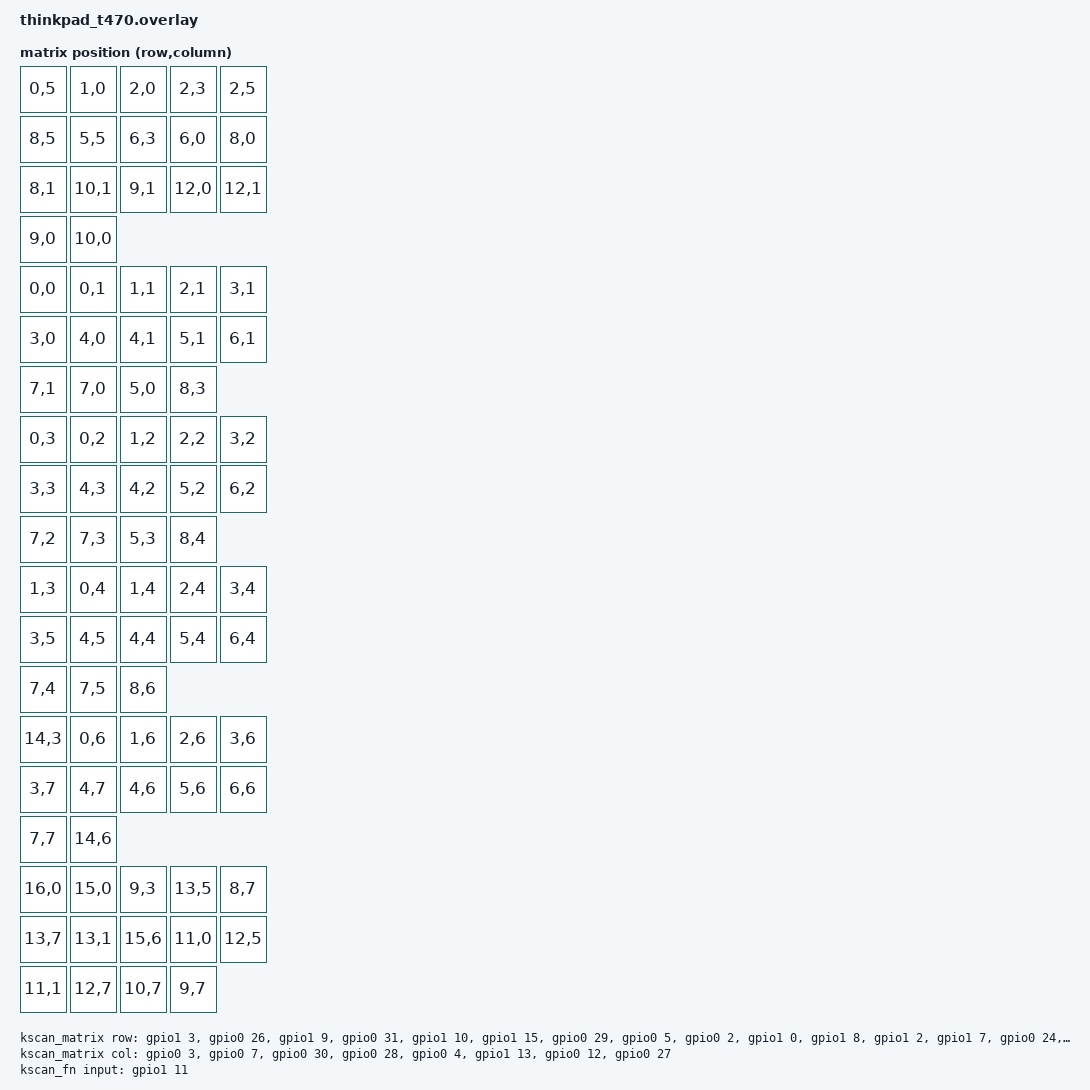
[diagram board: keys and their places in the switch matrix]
/*
 * ThinkPad T470 keyboard matrix on the Nordic nRF52840 DK.
 *
 * The transform maps the measured 16 x 8 matrix into physical US-layout order.
 * TrackPoint, keyboard LEDs, and backlight are intentionally out of scope.
 *
 * SPDX-License-Identifier: MIT
 */

#include <dt-bindings/gpio/gpio.h>
#include <dt-bindings/zmk/matrix_transform.h>
#include <dt-bindings/pinctrl/nrf-pinctrl.h>

/ {
    chosen {
        zmk,kscan = &kscan_composite;
        zmk,matrix-transform = &t470_transform;
    };

    kscan_matrix: kscan_matrix {
        compatible = "zmk,kscan-gpio-matrix";
        wakeup-source;
        diode-direction = "row2col";

        /* DRV0 through DRV15, in order. */
        row-gpios =
            <&gpio1 3 (GPIO_ACTIVE_LOW | GPIO_OPEN_DRAIN)>,
            <&gpio0 26 (GPIO_ACTIVE_LOW | GPIO_OPEN_DRAIN)>,
            <&gpio1 9 (GPIO_ACTIVE_LOW | GPIO_OPEN_DRAIN)>,
            <&gpio0 31 (GPIO_ACTIVE_LOW | GPIO_OPEN_DRAIN)>,
            <&gpio1 10 (GPIO_ACTIVE_LOW | GPIO_OPEN_DRAIN)>,
            <&gpio1 15 (GPIO_ACTIVE_LOW | GPIO_OPEN_DRAIN)>,
            <&gpio0 29 (GPIO_ACTIVE_LOW | GPIO_OPEN_DRAIN)>,
            <&gpio0 5 (GPIO_ACTIVE_LOW | GPIO_OPEN_DRAIN)>,
            <&gpio0 2 (GPIO_ACTIVE_LOW | GPIO_OPEN_DRAIN)>,
            <&gpio1 0 (GPIO_ACTIVE_LOW | GPIO_OPEN_DRAIN)>,
            <&gpio1 8 (GPIO_ACTIVE_LOW | GPIO_OPEN_DRAIN)>,
            <&gpio1 2 (GPIO_ACTIVE_LOW | GPIO_OPEN_DRAIN)>,
            <&gpio1 7 (GPIO_ACTIVE_LOW | GPIO_OPEN_DRAIN)>,
            <&gpio0 24 (GPIO_ACTIVE_LOW | GPIO_OPEN_DRAIN)>,
            <&gpio1 6 (GPIO_ACTIVE_LOW | GPIO_OPEN_DRAIN)>,
            <&gpio1 5 (GPIO_ACTIVE_LOW | GPIO_OPEN_DRAIN)>;

        /* SENSE0 through SENSE7, in order. */
        col-gpios =
            <&gpio0 3 (GPIO_ACTIVE_LOW | GPIO_PULL_UP)>,
            <&gpio0 7 (GPIO_ACTIVE_LOW | GPIO_PULL_UP)>,
            <&gpio0 30 (GPIO_ACTIVE_LOW | GPIO_PULL_UP)>,
            <&gpio0 28 (GPIO_ACTIVE_LOW | GPIO_PULL_UP)>,
            <&gpio0 4 (GPIO_ACTIVE_LOW | GPIO_PULL_UP)>,
            <&gpio1 13 (GPIO_ACTIVE_LOW | GPIO_PULL_UP)>,
            <&gpio0 12 (GPIO_ACTIVE_LOW | GPIO_PULL_UP)>,
            <&gpio0 27 (GPIO_ACTIVE_LOW | GPIO_PULL_UP)>;
    };

    /* T470 -HOTKEY (Fn) is a separate active-low contact, not matrixed. */
    kscan_fn: kscan_fn {
        compatible = "zmk,kscan-gpio-direct";
        wakeup-source;
        input-gpios = <&gpio1 11 (GPIO_ACTIVE_LOW | GPIO_PULL_UP)>;
    };

    kscan_composite: kscan_composite {
        compatible = "zmk,kscan-composite";
        wakeup-source;
        rows = <17>;
        columns = <8>;

        matrix {
            kscan = <&kscan_matrix>;
        };

        fn {
            kscan = <&kscan_fn>;
            row-offset = <16>;
        };
    };

    t470_transform: t470_transform {
        compatible = "zmk,matrix-transform";
        columns = <8>;
        rows = <17>;
        map = <
            /* Esc, F1-F12, Home, End, Insert, Delete. */
            RC(0,5)  RC(1,0)  RC(2,0)  RC(2,3)  RC(2,5)
            RC(8,5)  RC(5,5)  RC(6,3)  RC(6,0)  RC(8,0)
            RC(8,1)  RC(10,1) RC(9,1)  RC(12,0) RC(12,1)
            RC(9,0)  RC(10,0)

            /* Number row. */
            RC(0,0)  RC(0,1)  RC(1,1)  RC(2,1)  RC(3,1)
            RC(3,0)  RC(4,0)  RC(4,1)  RC(5,1)  RC(6,1)
            RC(7,1)  RC(7,0)  RC(5,0)  RC(8,3)

            /* QWERTY row. */
            RC(0,3)  RC(0,2)  RC(1,2)  RC(2,2)  RC(3,2)
            RC(3,3)  RC(4,3)  RC(4,2)  RC(5,2)  RC(6,2)
            RC(7,2)  RC(7,3)  RC(5,3)  RC(8,4)

            /* Home row. */
            RC(1,3)  RC(0,4)  RC(1,4)  RC(2,4)  RC(3,4)
            RC(3,5)  RC(4,5)  RC(4,4)  RC(5,4)  RC(6,4)
            RC(7,4)  RC(7,5)  RC(8,6)

            /* Shift row. */
            RC(14,3) RC(0,6)  RC(1,6)  RC(2,6)  RC(3,6)
            RC(3,7)  RC(4,7)  RC(4,6)  RC(5,6)  RC(6,6)
            RC(7,7)  RC(14,6)

            /* Bottom row and navigation cluster. */
            RC(16,0) RC(15,0) RC(9,3)  RC(13,5) RC(8,7)
            RC(13,7) RC(13,1) RC(15,6) RC(11,0) RC(12,5)
            RC(11,1) RC(12,7) RC(10,7) RC(9,7)
        >;
    };
};

&pinctrl {
    uart0_t470_default: uart0_t470_default {
        group1 {
            psels = <NRF_PSEL(UART_TX, 0, 6)>;
        };

        group2 {
            psels = <NRF_PSEL(UART_RX, 0, 8)>;
            bias-pull-up;
        };
    };

    uart0_t470_sleep: uart0_t470_sleep {
        group1 {
            psels = <NRF_PSEL(UART_TX, 0, 6)>,
                    <NRF_PSEL(UART_RX, 0, 8)>;
            low-power-enable;
        };
    };
};

&uart0 {
    pinctrl-0 = <&uart0_t470_default>;
    pinctrl-1 = <&uart0_t470_sleep>;
    pinctrl-names = "default", "sleep";
};

/* The DK's onboard QSPI flash remains physically connected to P0.17/P0.19-23. */
&qspi {
    status = "disabled";
};

/* DRV1/SENSE7 use P0.26/P0.27, normally assigned to Arduino I2C. */
&arduino_i2c {
    status = "disabled";
};

/* DRV10 uses P1.08, normally SPI1 MISO in the board defaults. */
&spi1 {
    status = "disabled";
};
